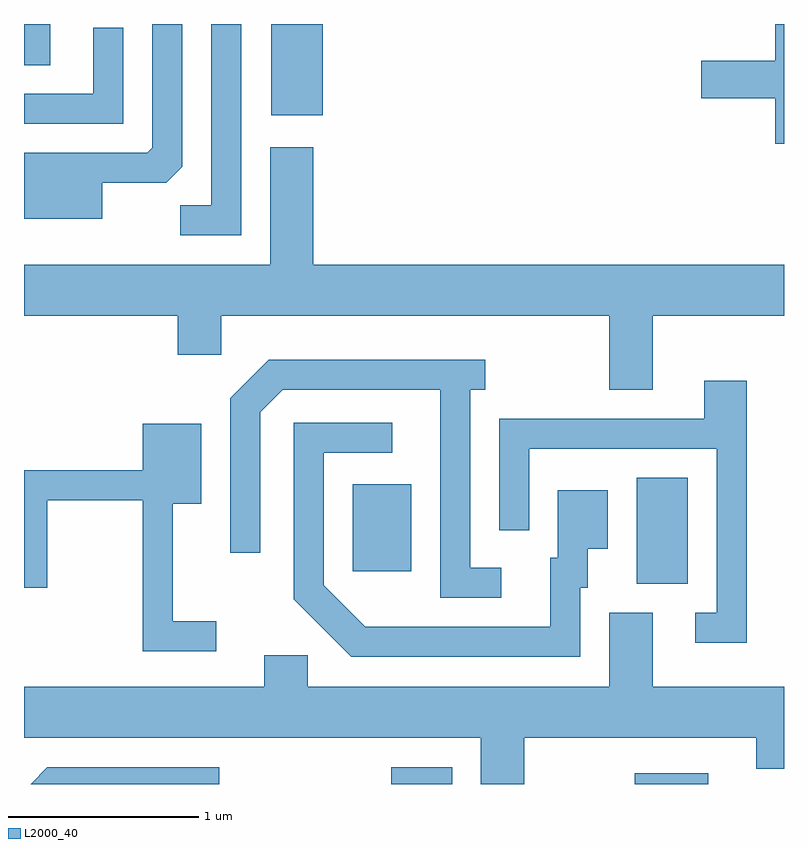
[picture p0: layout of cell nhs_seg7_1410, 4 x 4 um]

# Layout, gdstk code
import gdstk
lib = gdstk.Library(unit=1e-6, precision=1e-09)
def R(c, l, rs):  # rectangles x0, y0, x1, y1
    for r in rs: c.add(gdstk.rectangle(r[:2], r[2:], *l))
def P(c, l, *ps):  # polygons
    for p in ps: c.add(gdstk.Polygon(p, *l))
L2000_40 = (2000, 40)

nhs_seg7_1410 = lib.new_cell('nhs_seg7_1410')
R(nhs_seg7_1410, L2000_40, [(229.543,1756.252,229.864,1756.339), (230.826,1756.252,231.213,1756.309), (230.836,1757.306,231.104,1757.864), (229.341,1757.371,229.649,1757.829), (228.911,1759.771,229.184,1760.252), (227.611,1760.036,227.749,1760.252)])
P(nhs_seg7_1410, L2000_40, [(231.611,1760.252),(231.566,1760.252),(231.566,1760.059),(231.176,1760.059),(231.176,1759.861),(231.566,1759.861),(231.566,1759.621),(231.611,1759.621)],
  [(228.754,1760.252),(228.596,1760.252),(228.596,1759.299),(228.433,1759.299),(228.433,1759.141),(228.754,1759.141)],
  [(228.024,1759.416),(228.359,1759.416),(228.444,1759.502),(228.444,1760.252),(228.286,1760.252),(228.286,1759.602),(228.259,1759.574),(227.611,1759.574),(227.611,1759.226),(228.024,1759.226)],
  [(228.134,1760.233),(227.976,1760.233),(227.976,1759.884),(227.611,1759.884),(227.611,1759.726),(228.134,1759.726)],
  [(230.919,1758.716),(231.611,1758.716),(231.611,1758.984),(229.134,1758.984),(229.134,1759.604),(228.906,1759.604),(228.906,1758.984),(227.611,1758.984),(227.611,1758.716),(228.421,1758.716),(228.421,1758.511),(228.649,1758.511),(228.649,1758.716),(230.691,1758.716),(230.691,1758.326),(230.919,1758.326)],
  [(230.123,1757.389),(229.959,1757.389),(229.959,1758.326),(230.038,1758.326),(230.038,1758.484),(228.899,1758.484),(228.696,1758.282),(228.696,1757.468),(228.854,1757.468),(228.854,1758.209),(228.972,1758.326),(229.801,1758.326),(229.801,1757.231),(230.123,1757.231)],
  [(231.414,1758.374),(231.191,1758.374),(231.191,1758.174),(230.111,1758.174),(230.111,1757.588),(230.269,1757.588),(230.269,1758.016),(231.256,1758.016),(231.256,1757.154),(231.143,1757.154),(231.143,1756.996),(231.414,1756.996)],
  [(230.539,1757.286),(230.579,1757.286),(230.579,1757.491),(230.684,1757.491),(230.684,1757.799),(230.421,1757.799),(230.421,1757.444),(230.381,1757.444),(230.381,1757.079),(229.407,1757.079),(229.189,1757.297),(229.189,1757.996),(229.548,1757.996),(229.548,1758.154),(229.031,1758.154),(229.031,1757.224),(229.334,1756.921),(230.539,1756.921)],
  [(228.623,1757.109),(228.394,1757.109),(228.394,1757.726),(228.544,1757.726),(228.544,1758.149),(228.236,1758.149),(228.236,1757.904),(227.611,1757.904),(227.611,1757.286),(227.734,1757.286),(227.734,1757.746),(228.236,1757.746),(228.236,1756.951),(228.623,1756.951)],
  [(230.244,1756.496),(231.466,1756.496),(231.466,1756.331),(231.611,1756.331),(231.611,1756.764),(230.919,1756.764),(230.919,1757.154),(230.691,1757.154),(230.691,1756.764),(229.104,1756.764),(229.104,1756.929),(228.876,1756.929),(228.876,1756.764),(227.611,1756.764),(227.611,1756.496),(230.016,1756.496),(230.016,1756.252),(230.244,1756.252)],
  [(228.639,1756.339),(227.734,1756.339),(227.647,1756.252),(228.639,1756.252)])

lib.write_gds('nhs_seg7_1410.gds')
